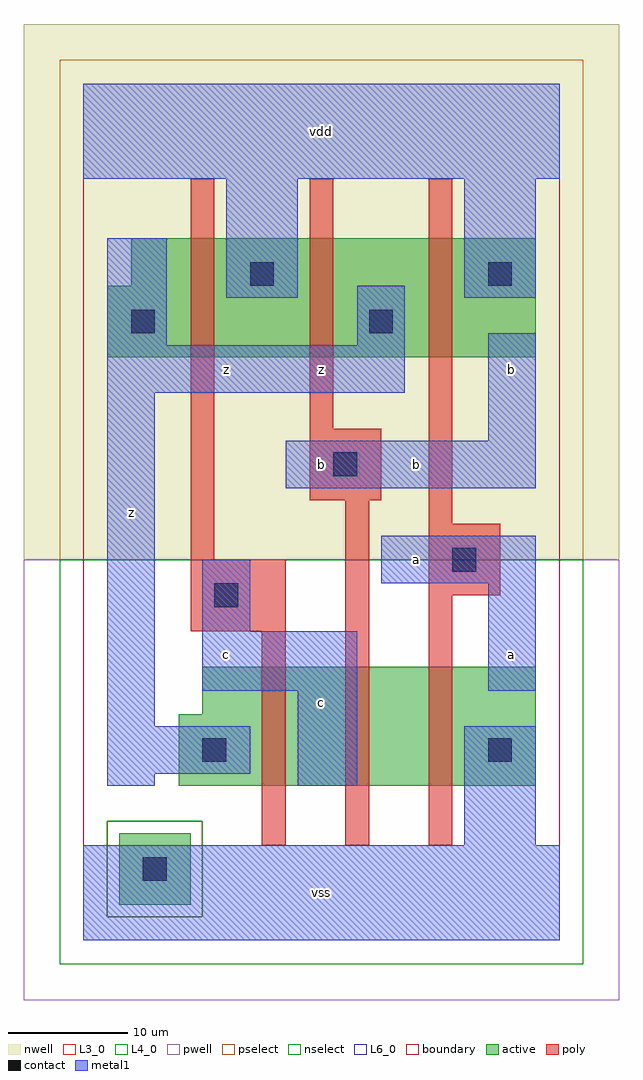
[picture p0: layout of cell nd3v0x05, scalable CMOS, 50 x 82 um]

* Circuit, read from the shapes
.subckt nd3v0x05 a b c vdd vss z
M1 n1 c z vss nfet w=10u l=2u
M2 n2 b n1 vss nfet w=10u l=2u
M3 vss a n2 vss nfet w=10u l=2u
M4 vdd c z n3 pfet w=10u l=2u
M5 z b vdd n3 pfet w=10u l=2u
M6 vdd a z n3 pfet w=10u l=2u
.ends

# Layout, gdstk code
import gdstk
lib = gdstk.Library(unit=1e-6, precision=1e-09)
def R(c, l, rs):  # rectangles x0, y0, x1, y1
    for r in rs: c.add(gdstk.rectangle(r[:2], r[2:], *l))
L3_0 = (3, 0)
L4_0 = (4, 0)
L6_0 = (6, 0)
contact = (25, 0)
pwell = (41, 0)
nwell = (42, 0)
active = (43, 0)
pselect = (44, 0)
nselect = (45, 0)
poly = (46, 0)
metal1 = (49, 0)
boundary = (63, 0)

nd3v0x05 = lib.new_cell('nd3v0x05')
R(nd3v0x05, L3_0, [(8,13,38,19), (10,19,38,23)])
R(nd3v0x05, L4_0, [(2,49,38,55), (4,55,38,59)])
R(nd3v0x05, L6_0, [(3,3,9,9)])
R(nd3v0x05, contact, [(5,5,7,7), (10,15,12,17), (34,15,36,17), (11,28,13,30), (31,31,33,33), (21,39,23,41), (4,51,6,53), (24,51,26,53), (14,55,16,57), (34,55,36,57)])
R(nd3v0x05, pwell, [(-5,-5,45,32)])
R(nd3v0x05, nwell, [(-5,32,45,77)])
R(nd3v0x05, active, [(3,3,9,9), (8,13,38,19), (10,19,38,23), (2,49,38,55), (4,55,38,59)])
R(nd3v0x05, pselect, [(2,2,10,10), (-2,32,42,74)])
R(nd3v0x05, nselect, [(-2,-2,42,2), (-2,2,2,10), (10,2,42,10), (-2,10,42,32)])
R(nd3v0x05, poly, [(15,8,17,26), (22,8,24,37), (29,8,31,29), (9,26,17,32), (29,29,35,35), (9,32,11,64), (29,35,31,64), (19,37,25,43), (19,43,21,64)])
R(nd3v0x05, metal1, [(0,0,40,8), (32,8,38,18), (2,13,6,14), (18,13,23,21), (2,14,14,18), (2,18,6,46), (10,21,23,26), (34,21,38,30), (10,26,14,32), (25,30,38,34), (17,38,38,42), (34,42,38,51), (2,46,27,50), (2,50,7,59), (23,50,27,55), (12,54,18,64), (32,54,38,64), (0,64,40,72)])
R(nd3v0x05, boundary, [(0,0,40,72)])
nd3v0x05.add(gdstk.Label('z', (4,36), layer=49, texttype=0))
nd3v0x05.add(gdstk.Label('c', (12,24), layer=49, texttype=0))
nd3v0x05.add(gdstk.Label('z', (12,48), layer=49, texttype=0))
nd3v0x05.add(gdstk.Label('vss', (20,4), layer=49, texttype=0))
nd3v0x05.add(gdstk.Label('c', (20,20), layer=49, texttype=0))
nd3v0x05.add(gdstk.Label('a', (28,32), layer=49, texttype=0))
nd3v0x05.add(gdstk.Label('b', (28,40), layer=49, texttype=0))
nd3v0x05.add(gdstk.Label('b', (20,40), layer=49, texttype=0))
nd3v0x05.add(gdstk.Label('z', (20,48), layer=49, texttype=0))
nd3v0x05.add(gdstk.Label('vdd', (20,68), layer=49, texttype=0))
nd3v0x05.add(gdstk.Label('a', (36,24), layer=49, texttype=0))
nd3v0x05.add(gdstk.Label('b', (36,48), layer=49, texttype=0))

lib.write_gds('nd3v0x05.gds')
